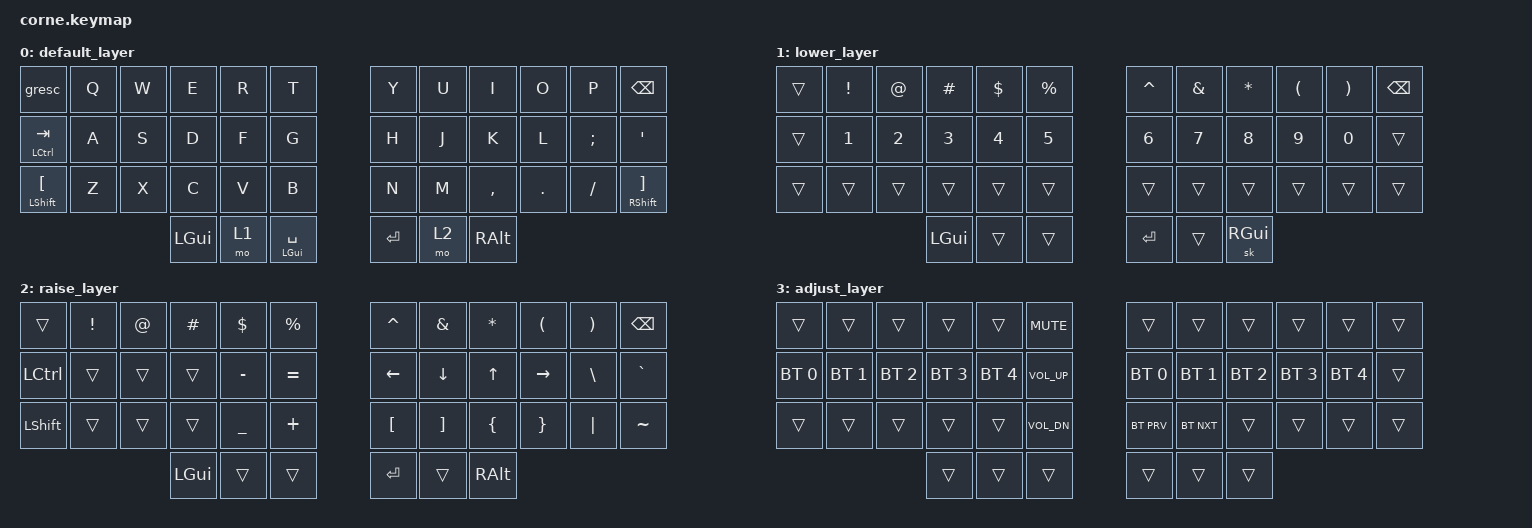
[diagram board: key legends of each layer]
/*
 * Copyright (c) 2020 The ZMK Contributors
 *
 * SPDX-License-Identifier: MIT
 */

#include <behaviors.dtsi>
#include <dt-bindings/zmk/bt.h>
#include <dt-bindings/zmk/keys.h>

/ {
    keymap {
        compatible = "zmk,keymap";

        default_layer {
            // -----------------------------------------------------------------------------------------
            // |  TAB |  Q  |  W  |  E  |  R  |  T  |   |  Y  |  U   |  I  |  O  |  P  | BKSP |
            // | CTRL |  A  |  S  |  D  |  F  |  G  |   |  H  |  J   |  K  |  L  |  ;  |  '   |
            // | SHFT |  Z  |  X  |  C  |  V  |  B  |   |  N  |  M   |  ,  |  .  |  /  | ESC  |
            //                    | GUI | LWR | SPC |   | ENT | RSE  | ALT |

            bindings = <
&gresc                  &kp Q  &kp W  &kp E     &kp R  &kp T                 &kp Y    &kp U  &kp I      &kp O    &kp P     &kp BSPC
&mt LCTRL TAB           &kp A  &kp S  &kp D     &kp F  &kp G                 &kp H    &kp J  &kp K      &kp L    &kp SEMI  &kp SQT
&mt LSHFT LEFT_BRACKET  &kp Z  &kp X  &kp C     &kp V  &kp B                 &kp N    &kp M  &kp COMMA  &kp DOT  &kp FSLH  &mt RIGHT_SHIFT RIGHT_BRACKET
                                      &kp LGUI  &mo 1  &mt LEFT_GUI SPACE    &kp RET  &mo 2  &kp RALT
            >;
        };

        lower_layer {
            // -----------------------------------------------------------------------------------------
            // |  TAB |  1  |  2  |  3  |  4  |  5  |   |  6  |  7  |  8  |  9  |  0  | BKSP |
            // | BTCLR| BT1 | BT2 | BT3 | BT4 | BT5 |   | LFT | DWN |  UP | RGT |     |      |
            // | SHFT |     |     |     |     |     |   |     |     |     |     |     |      |
            //                    | GUI |     | SPC |   | ENT |     | ALT |

            bindings = <
&trans  &kp EXCLAMATION  &kp AT_SIGN   &kp HASH      &kp DOLLAR    &kp PERCENT    &kp CARET     &kp AMPERSAND  &kp ASTERISK   &kp LEFT_PARENTHESIS  &kp RIGHT_PARENTHESIS  &kp BSPC
&trans  &kp NUMBER_1     &kp NUMBER_2  &kp NUMBER_3  &kp NUMBER_4  &kp N5         &kp NUMBER_6  &kp N7         &kp N8         &kp N9                &kp N0                 &trans
&trans  &trans           &trans        &trans        &trans        &trans         &trans        &trans         &trans         &trans                &trans                 &trans
                                       &kp LGUI      &trans        &trans         &kp RET       &trans         &sk RIGHT_GUI
            >;
        };

        raise_layer {
            // -----------------------------------------------------------------------------------------
            // |  TAB |  !  |  @  |  #  |  $  |  %  |   |  ^  |  &  |  *  |  (  |  )  | BKSP |
            // | CTRL |     |     |     |     |     |   |  -  |  =  |  [  |  ]  |  \  |  `   |
            // | SHFT |     |     |     |     |     |   |  _  |  +  |  {  |  }  | "|" |  ~   |
            //                    | GUI |     | SPC |   | ENT |     | ALT |

            bindings = <
&trans     &kp EXCL  &kp AT  &kp HASH  &kp DOLLAR      &kp PERCENT    &kp CARET         &kp AMPS           &kp ASTRK     &kp LPAR   &kp RPAR  &kp BSPC
&kp LCTRL  &trans    &trans  &trans    &kp MINUS       &kp EQUAL      &kp LEFT          &kp DOWN           &kp UP_ARROW  &kp RIGHT  &kp BSLH  &kp GRAVE
&kp LSHFT  &trans    &trans  &trans    &kp UNDERSCORE  &kp PLUS       &kp LEFT_BRACKET  &kp RIGHT_BRACKET  &kp LBRC      &kp RBRC   &kp PIPE  &kp TILDE
                             &kp LGUI  &trans          &trans         &kp RET           &trans             &kp RALT
            >;
        };

        adjust_layer {
            bindings = <
&trans        &trans        &trans        &trans        &trans        &kp C_MUTE      &trans        &trans        &trans        &trans        &trans        &trans
&bt BT_SEL 0  &bt BT_SEL 1  &bt BT_SEL 2  &bt BT_SEL 3  &bt BT_SEL 4  &kp C_VOL_UP    &bt BT_SEL 0  &bt BT_SEL 1  &bt BT_SEL 2  &bt BT_SEL 3  &bt BT_SEL 4  &trans
&trans        &trans        &trans        &trans        &trans        &kp C_VOL_DN    &bt BT_PRV    &bt BT_NXT    &trans        &trans        &trans        &trans
                                          &trans        &trans        &trans          &trans        &trans        &trans
            >;
        };
    };

    conditional_layers {
        compatible = "zmk,conditional-layers";

        adjust {
            if-layers = <1 2>;
            then-layer = <3>;
        };
    };
};

&nice_view_spi { cs-gpios = <&pro_micro 0 GPIO_ACTIVE_HIGH>; };
